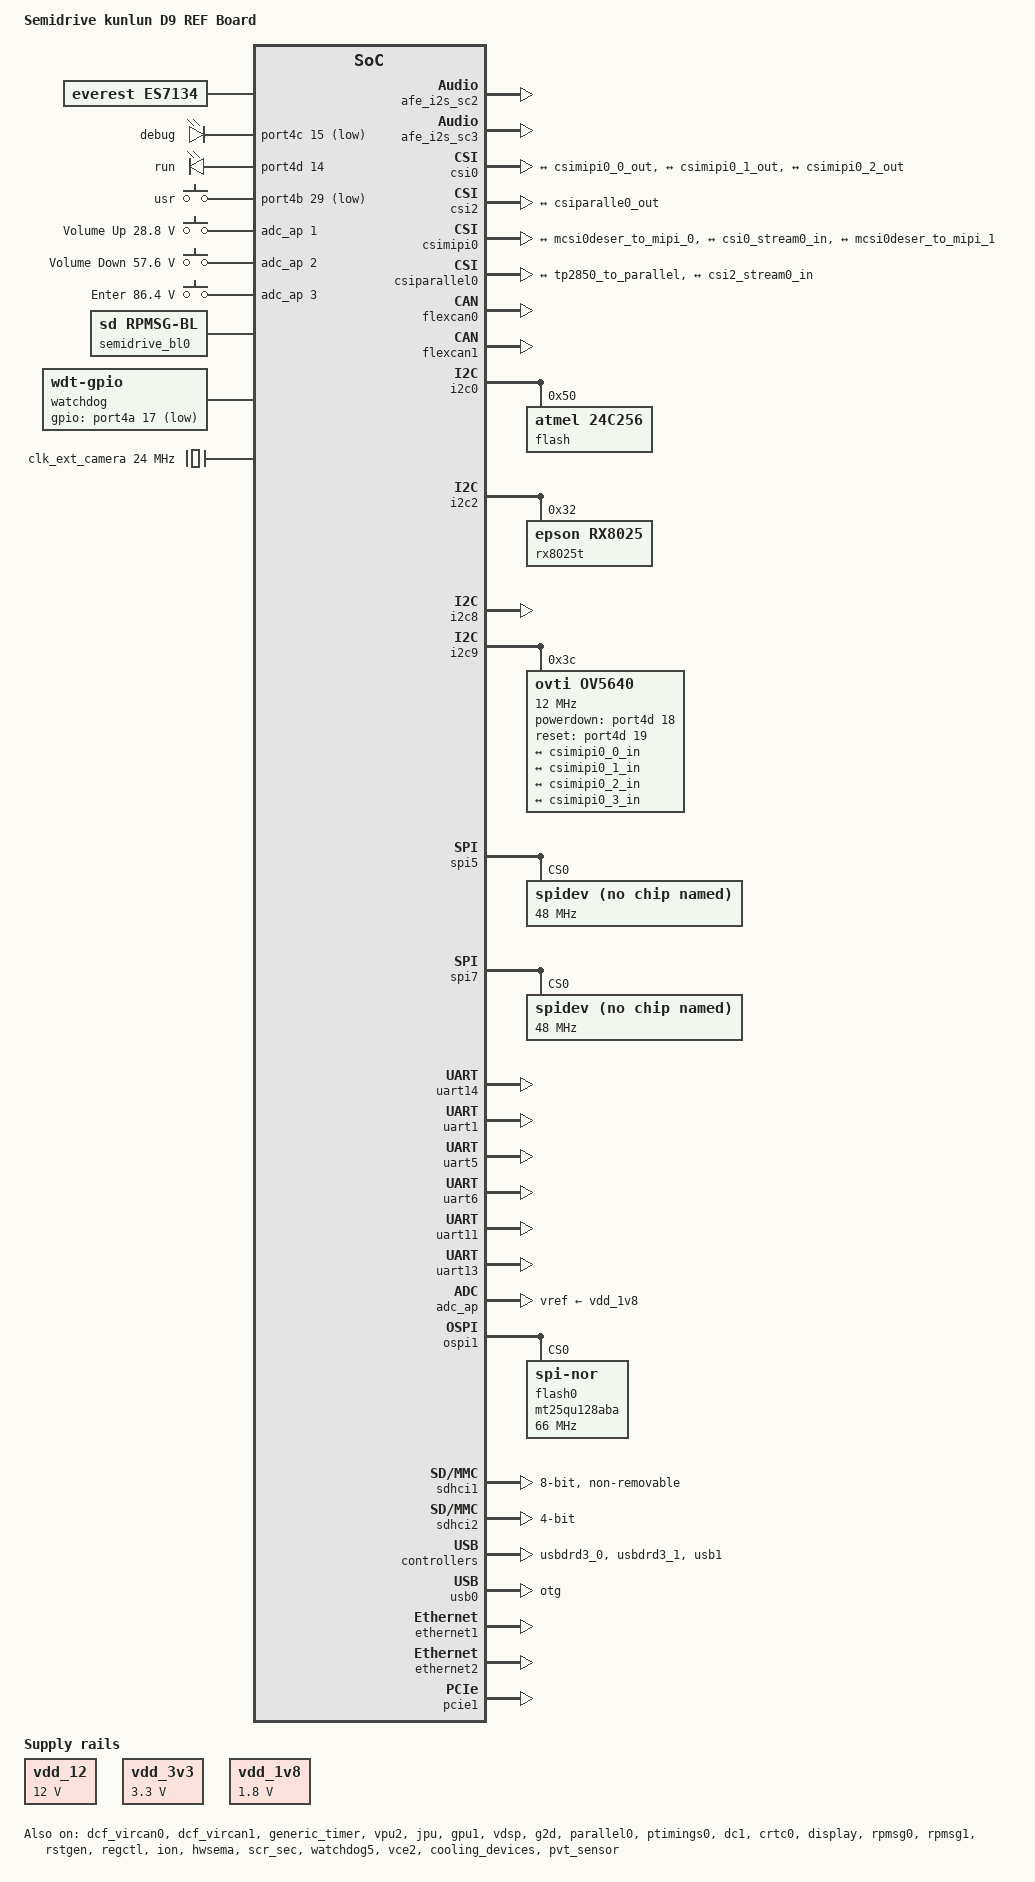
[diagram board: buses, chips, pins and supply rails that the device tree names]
/*
 * Semidrive kunlun platform DTS file
 *
 * Copyright (C) 2019, Semidrive  Communications Inc.
 *
 * This file is licensed under a dual GPLv2 or X11 license.
 */

/dts-v1/;
#include <dt-bindings/input/input.h>
#include <dt-bindings/pinctrl/pins-sdx9.h>
#include <dt-bindings/memmap/d9/projects/default/image_cfg.h>
#include <dt-bindings/memory/sdrv_ion.h>
#include <dt-bindings/rpmsg/sd,x9h-default.h>
#include "d9-std.dtsi"
#include "lcd-timings.dtsi"
#include "lcd_hsd123_serdes_mipi_1920x720.dtsi"

/ {
	model = "Semidrive kunlun D9 REF Board";

	compatible = "semidrive,kunlun";

	aliases {
		serial0 = &uart14;//linux debug uart
		serial1 = &uart0;
		serial2 = &uart1;
		//serial3 = &uart2;//safety debug uart
		serial4 = &uart3;
		serial5 = &uart4;
		serial6 = &uart5;
		serial7 = &uart6; 
		serial8 = &uart7; 
		serial9 = &uart8;
		//serial10 = &uart9;//sec ssystem debug uart
		serial11 = &uart10;
		serial12 = &uart11;
		serial13 = &uart12;
		serial14 = &uart13;
		//serial15 = &uart14;//linux debug uart
		serial16 = &uart15;
		ethernet1 = &ethernet1;
		ethernet2 = &ethernet2;
		spi6 = &spi5;
		spi7 = &spi6;
		spi8 = &spi7;
	};

	memory@50000000 {
		device_type = "memory";
		reg = <HIGH32(AP1_REE_MEMBASE) LOW32(AP1_REE_MEMBASE) HIGH32(AP1_REE_MEMSIZE) LOW32(AP1_REE_MEMSIZE) \
		       HIGH32(AP1_2ND_MEMBASE) LOW32(AP1_2ND_MEMBASE) HIGH32(AP1_2ND_MEMSIZE) LOW32(AP1_2ND_MEMSIZE) \
		       0x0 (VDSP_MEMBASE+0x4000) 0x0 (VDSP_SHARE_MEMSIZE + VDSP_MEMSIZE -0x4000)>;
	};

	reserved-memory {
		#address-cells = <2>;
		#size-cells = <2>;
		ranges;

		ramoops {
			compatible = "ramoops";
			reg = <HIGH32(AP1_BOARD_RAMDISK_MEMBASE + AP1_BOARD_RAMDISK_MEMSIZE + 0x1000000)
				LOW32(AP1_BOARD_RAMDISK_MEMBASE + AP1_BOARD_RAMDISK_MEMSIZE + 0x1000000) 0x0 0x100000>;
			record-size = <0x60000>;
			console-size = <0x40000>;
			ftrace-size = <0x20000>;
			pmsg-size = <0x40000>;
		};

		/* Default Common CMA Pool */
		/* QUIRK: Must be kept in the lower 4096 MiBs of DRAM banks for VE */
		linux,cma {
			compatible = "shared-dma-pool";
			reusable;
			size = <0x0 0x10000000>; /* 256MB */
			/* 4GB maximum in case of 32-bit only capable devices */
			alloc-ranges = <0x0 0x0 0x0 0xffffffff>;
			linux,cma-default;
		};

		rproc_0_safety: rproc@0 {
			compatible = "shared-dma-pool";
			no-map;
			reg = <0x0 RPMSG0_MEM_POOL_BASE 0x0 RPMSG0_MEM_POOL_SIZE>;
		};

		rproc_1_secure: rproc@1 {
			compatible = "shared-dma-pool";
			no-map;
			reg = <0x0 RPMSG1_MEM_POOL_BASE 0x0 RPMSG1_MEM_POOL_SIZE>;
		};

		xrp_reserved: xrp@0 {
			compatible = "shared-dma-pool";
			status = "okay";
			no-map;
			reg = <0x0 VDSP_SHARE_MEMBASE 0x0 0x4000>;
		};

		xrp_shared: xrp,shmem {
			reg = <0x0 (VDSP_SHARE_MEMBASE+0x4000) 0x0 (VDSP_SHARE_MEMSIZE-0x4000)>;
		};

	};

	chosen {
		bootargs = "skip_initramfs noinitrd root=/dev/mmcblk0p4 rootfstype=ext4 rootwait rw init=/sbin/init highres=1 earlycon loglevel=4 nr_uarts=16 console=ttyS0,115200n8 fbcon=map:1 androidboot.mode=normal androidboot.selinux=permissive androidboot.debuggable=1 androidboot.dm_verity=disable psplash=false";
		stdout-path = "serial0";
	};

	vdd_12: fixed-vdd_12 {
		compatible = "regulator-fixed";
		regulator-name = "vdd_12v";
		regulator-min-microvolt = <12000000>;
		regulator-max-microvolt = <12000000>;
	};

	vdd_3v3: fixed-vdd_3v3 {
		compatible = "regulator-fixed";
		regulator-name = "vdd_3v3";
		regulator-min-microvolt = <3300000>;
		regulator-max-microvolt = <3300000>;
	};

	vdd_1v8: fixed-vdd_1v8 {
		compatible = "regulator-fixed";
		regulator-name = "vdd_1v8";
		regulator-min-microvolt = <1800000>;
		regulator-max-microvolt = <1800000>;
	};

	es7134: codec@es7134 {
		compatible = "everest,es7134";
		status = "okay";
	};

	sound_es7243e: sound@es7243e {
		compatible = "semidrive,d9-ref-es7243e";
		semidrive,audio-codec = <&es7243e>;
		status = "okay";
	};

	sound_es7144: sound@es7144 {
		compatible = "semidrive,d9-ref-es7144";
		semidrive,audio-codec = <&es7134>;
		//semidrive,jack-gpio = <&port4b 29 GPIO_ACTIVE_HIGH>;
		status = "okay";
	};

	leds {
		compatible = "gpio-leds";
		status = "okay";
		led0: led0 {
			label = "debug";
			gpios = <&port4c 15 GPIO_ACTIVE_LOW> ;//GPIO_D15 - gpio79
			default-state = "on";
			linux,default-trigger = "heartbeat";
		};
		led1: led1 {
			label = "run";
			gpios = <&port4d 14 GPIO_ACTIVE_HIGH> ;//GPIO_G6 - gpio110
			default-state = "on";
			linux,default-trigger = "heartbeat";
		};
	};

	gpio-keys {
		status = "okay";
		compatible = "gpio-keys";
		autorepeat;
		up {
			label = "usr";
			linux,code = <KEY_POWER>;//KEY_POWER
			gpios = <&port4b 29 GPIO_ACTIVE_LOW> ;//sch-part-S1<->gpio_C13 - gpio61
		};
	};

	adc-keys0 {
		status = "okay";
		compatible = "adc-keys";
		io-channels = <&adc_ap 1>;
		io-channel-names = "buttons";
		keyup-threshold-microvolt = <30500000>;
		poll-interval = <100>;

		button-up {
			label = "Volume Up";
			linux,code = <KEY_VOLUMEUP>;
			press-threshold-microvolt = <28800000>;
		};

	};

	adc-keys1 {
		status = "okay";
		compatible = "adc-keys";
		io-channels = <&adc_ap 2>;
		io-channel-names = "buttons";
		keyup-threshold-microvolt = <59400000>;
		poll-interval = <100>;

		button-down {
			label = "Volume Down";
			linux,code = <KEY_VOLUMEDOWN>;
			press-threshold-microvolt = <57600000>;
		};

	};

	adc-keys2 {
		status = "okay";
		compatible = "adc-keys";
		io-channels = <&adc_ap 3>;
		io-channel-names = "buttons";
		keyup-threshold-microvolt = <88000000>;
		poll-interval = <100>;

		button-enter {
			label = "Enter";
			linux,code = <KEY_ENTER>;
			press-threshold-microvolt = <86400000>;
		};
	};

	semidrive_bl0: panel0-backlight {
		compatible = "sd,rpmsg-bl"; /*"sd,rpmsg-bl" for rpmsg; "pwm-backlight" for native*/
		bl_screen-id = /bits/ 32 <1>;
		//pwms = <&pwm4 PWM_CH0 PWM_FREQUENCY PWM_POLARITY_INVERSED>;
		brightness-levels = <0 1 2 3 4 5 6 7 8 9 10 11 12 13 14 15 16
							 17 18 19 20 21 22 23 24 25 26 27 28 29 30
							 31 32 33 34 35 36 37 38 39 40 41 42 43 44
							 45 46 47 48 49 50 51 52 53 54 55 56 57 58
							 59 60 61 62 63 64 65 66 67 68 69 70 71 72
							 73 74 75 76 77 78 79 80 81 82 83 84 85 86
							 87 88 89 90 91 92 93 94 95 96 97 98 99 100>;
		default-brightness-level = <70>;
		status = "okay";
	};
	watchdog: watchdog {
		// SGM820B
		compatible = "linux,wdt-gpio";
		gpios = <&port4a 17 GPIO_ACTIVE_LOW>;//gpio17 - GPIO_B5 / GPIO_B4
		hw_algo = "toggle";
		always-running;
		hw_margin_ms = <1000>;
	};
	clocks {
		clk_ext_camera: clk-ext-camera {
			#clock-cells = <0>;
			compatible = "fixed-clock";
			clock-frequency = <24000000>;
		};
	};
};

&dmac4 {
	status = "okay";
};
&dmac5 {
	status = "okay";
};
&dmac6 {
	status = "okay";
};

&afe_i2s_sc2{
//sch part u19(codec dac es7144)
	dmas = <&dmac4 X9_DMA_SLV_ID_I2S_SC3_TX>, <&dmac4 X9_DMA_SLV_ID_I2S_SC3_RX>;
	dma-names = "tx", "rx";
	status = "okay";
};

&afe_i2s_sc3{
//sch part u20(codec adc es7243)
	dmas = <&dmac4 X9_DMA_SLV_ID_I2S_SC4_TX>, <&dmac4 X9_DMA_SLV_ID_I2S_SC4_RX>;
	dma-names = "tx", "rx";
	semidrive,full-duplex = <0>;
	status = "okay";
};

&afe_i2s_sc5{
	dmas = <&dmac4 X9_DMA_SLV_ID_I2S_SC6_TX>, <&dmac4 X9_DMA_SLV_ID_I2S_SC6_RX>;
	dma-names = "tx", "rx";
	status = "disabled";
};

&afe_i2s_sc7{
	dmas = <&dmac4 X9_DMA_SLV_ID_I2S_SC8_TX>, <&dmac4 X9_DMA_SLV_ID_I2S_SC8_RX>;
	dma-names = "tx", "rx";
	status = "disabled";
};

/*&csi0 {
	fsl,mipi-mode;
	status = "okay";
	port {
		csi1_ep: endpoint {
			remote-endpoint = <&csi1_mipi_ep>;
		};
	};
};*/

&csi0 {
	mbus-type = "mipi-csi2";
	pclk-sample = <1>;
	status = "okay";

	ports {
		csi0_stream0: port@0 {
			csi0_stream0_in: endpoint@0 {
				remote-endpoint = <&csimipi0_0_out>;
			};
		};

		csi0_stream1: port@1 {
			csi0_stream1_in: endpoint@0 {
				remote-endpoint = <&csimipi0_1_out>;
			};
		};
		csi0_stream2: port@2 {
			csi0_stream2_in: endpoint@0 {
				remote-endpoint = <&csimipi0_2_out>;
			};
		};
		csi0_stream3: port@3 {
			csi0_stream3_in: endpoint@0 {
				remote-endpoint = <&csimipi0_3_out>;
			};
		};
	};
};

&csi2 {
	mbus-type = "bt656";
	pclk-sample = <0>;
	status = "okay";

	ports {
		csi2_stream0: port@0 {
			csi2_stream0_in: endpoint@0 {
				remote-endpoint = <&csiparalle0_out>;
			};
		};

	};
};
/*
&csimipi0 {
	status = "okay";
	lanerate = <72000000>;
	hsa = <10>;
	hbp = <20>;
	hsd = <0x60>;
	output-type = <0x1e>;

	port {
		mipi1_sensor_ep: endpoint1 {
			remote-endpoint = <&ov5640_mipi1_ep>;
			data-lanes = <2>;
			csis-hs-settle = <13>;
			csis-clk-settle = <2>;
			csis-wclk;
		};

		csi1_mipi_ep: endpoint2 {
			remote-endpoint = <&csi1_ep>;
		};
	};
};*/

&csimipi0 {
	status = "okay";
	lanerate = <72000000>;
	hsa = <10>;
	hbp = <20>;
	hsd = <0x60>;
	output-type = <0x1e>;

	ports {
		#address-cells = <1>;
		#size-cells = <0>;

		port@0 {
			#address-cells = <1>;
			#size-cells = <0>;
			reg = <0>;
			csimipi0_0_in: endpoint@0 {
				remote-endpoint = <&mcsi0deser_to_mipi_0>;
				reg = <0>;
			};
			csimipi0_0_out: endpoint@1 {
				remote-endpoint = <&csi0_stream0_in>;
				reg = <0>;
			};
		};

		port@1 {
			#address-cells = <1>;
			#size-cells = <0>;
			reg = <1>;
			csimipi0_1_in: endpoint@0 {
				remote-endpoint = <&mcsi0deser_to_mipi_1>;
				reg = <1>;
			};
			csimipi0_1_out: endpoint@1 {
				remote-endpoint = <&csi0_stream1_in>;
				reg = <1>;
			};
		};
		port@2 {
			#address-cells = <1>;
			#size-cells = <0>;
			reg = <2>;
			csimipi0_2_in: endpoint@0 {
				remote-endpoint = <&mcsi0deser_to_mipi_2>;
				reg = <2>;
			};
			csimipi0_2_out: endpoint@1 {
				remote-endpoint = <&csi0_stream2_in>;
				reg = <2>;
			};
		};
		port@3 {
			#address-cells = <1>;
			#size-cells = <0>;
			reg = <3>;
			csimipi0_3_in: endpoint@0 {
				remote-endpoint = <&mcsi0deser_to_mipi_3>;
				reg = <3>;
			};
			csimipi0_3_out: endpoint@1 {
				remote-endpoint = <&csi0_stream3_in>;
				reg = <3>;
			};
		};
	};
};

&csiparallel0 {
	status = "okay";
	#address-cells = <1>;
	#size-cells = <0>;

	port {
		#address-cells = <1>;
		#size-cells = <0>;
		reg = <0>;
		csiparallel0_in: endpoint@0 {
			remote-endpoint = <&tp2850_to_parallel>;
		};

		csiparallel0_out: endpoint@1 {
			remote-endpoint = <&csi2_stream0_in>;
		};
	};
};

&dcf_vircan0 {
	status = "okay";
};

&dcf_vircan1 {
	status = "okay";
};

&flexcan0 {
	clocks = <&CAN5_TO_20>, <&CAN5_TO_20>;
	clock-names = "per", "ipg";
	assigned-clocks = <&CAN5_TO_20>, <&CAN5_TO_20>;
	assigned-clock-rates = <80000000>, <80000000>;
	status = "okay";
};

&flexcan1 {
	clocks = <&CAN5_TO_20>, <&CAN5_TO_20>;
	clock-names = "per", "ipg";
	assigned-clocks = <&CAN5_TO_20>, <&CAN5_TO_20>;
	assigned-clock-rates = <80000000>, <80000000>;
	status = "okay";
};

&i2c0 {
		status = "okay";
		flash@50 {
			compatible = "atmel,24c256";
			reg = <0x50>;
			//pagesize = <64>;
		};
};

&i2c2 {
        status = "okay";
		rx8025t: rx8025t@32 {
		compatible = "epson,rx8025";
		reg = <0x32>;
    };
};

&i2c3 {
//sch part U22(pvt sgm452t)
	status = "disabled";
	dtt@4f {
		compatible = "sgmicro,sgm452";
		reg = <0x4f>;
	};
	
};
&i2c4 {
	status = "disabled";
	ksz9896c:ksz9896c@5f {
		compatible = "switch,ksz9896c";
		//ksz9896c,pwdn-gpio =  <&port4b 28 GPIO_ACTIVE_LOW>;
		//gpios = <&port4d 28 GPIO_ACTIVE_LOW> ;//sch-part-J8<->gpio_H2 io124 Y7

		reg = <0x5f>;
	};
};

&i2c5 {
	status = "disabled";
	es7243e: codec@10 {
		compatible = "MicArray_0";
		reg = <0x10>;
	};
};

&i2c6 {
//sch part U5(tp2850)
	status = "disabled";
	dvp_tp2850:dvp_tp2850@44 {
		compatible = "tp,tp2850";
		reg = <0x44>;
		sync = <0>;
		//pwdn-gpios = <&port4d 27 GPIO_ACTIVE_HIGH>;//index(123) gpio h1
		rst-gpios = <&port4c 19 GPIO_ACTIVE_HIGH>;//index(79) gpio D15
		//semidrive,poc = <&i2c9>;
		port {
			tp2850_to_parallel:endpoint {
				remote-endpoint = <&csiparallel0_in>;
			};
		};
	};
};

&i2c7 {
	status = "disabled";
};

&i2c8 {
	status = "okay";
};
/*
&i2c9 {
	status = "okay";
	
	ov5640_mipi: ov5640_mipi@3c {
		compatible = "ovti,ov5640_mipi";
		reg = <0x3c>;
		status = "okay";
		//clocks = <&CSI_MCLK1>;
		clocks = <&clk_ext_camera>;
		clock-names = "csi_mclk";
		//clock-frequency = <12000000>;
		mclk = <24000000>;
		mclk_source = <0>;
		//sync = <0>;
		csi_id = <0>;
		gate-gpios = <&port4d 20 GPIO_ACTIVE_HIGH>;//GPIO_G12 - gpio116
		pwn-gpios = <&port4d 18 GPIO_ACTIVE_HIGH>;//GPIO_G10 - gpio114
		rst-gpios = <&port4d 19 GPIO_ACTIVE_HIGH>;//GPIO_G11 - gpio115
		port {
			ov5640_mipi1_ep: endpoint {
				remote-endpoint = <&mipi1_sensor_ep>;
			};
		};
		ports {
			port@0 {
				#address-cells = <1>;
				#size-cells = <0>;

				mcsi0deser_to_mipi_0: endpoint {
					remote-endpoint = <&csimipi0_0_in>;
				};
			};

			port@1 {
				#address-cells = <1>;
				#size-cells = <0>;

				mcsi0deser_to_mipi_1: endpoint {
					remote-endpoint = <&csimipi0_1_in>;
				};
			};
			port@2 {
				#address-cells = <1>;
				#size-cells = <0>;

				mcsi0deser_to_mipi_2: endpoint {
					remote-endpoint = <&csimipi0_2_in>;
				};
			};
			port@3 {
				#address-cells = <1>;
				#size-cells = <0>;

				mcsi0deser_to_mipi_3: endpoint {
					remote-endpoint = <&csimipi0_3_in>;
				};
			};
		};
	};
};*/

&i2c9 {
//sch part U3(N4)
	status = "okay";

	ov5640:ov5640@3c {
		compatible = "ovti,ov5640";
		clocks = <&CSI_MCLK1>;
		clock-names = "csi-mclk";
		clock-frequency = <12000000>;
		reg = <0x3c>;
		powerdown-gpios = <&port4d 18 GPIO_ACTIVE_HIGH>;//GPIO_G10 - gpio114
		reset-gpios = <&port4d 19 GPIO_ACTIVE_HIGH>;//GPIO_G11 - gpio115

		ports {
			port@0 {
				#address-cells = <1>;
				#size-cells = <0>;

				mcsi0deser_to_mipi_0: endpoint {
					remote-endpoint = <&csimipi0_0_in>;
				};
			};

			port@1 {
				#address-cells = <1>;
				#size-cells = <0>;

				mcsi0deser_to_mipi_1: endpoint {
					remote-endpoint = <&csimipi0_1_in>;
				};
			};
			port@2 {
				#address-cells = <1>;
				#size-cells = <0>;

				mcsi0deser_to_mipi_2: endpoint {
					remote-endpoint = <&csimipi0_2_in>;
				};
			};
			port@3 {
				#address-cells = <1>;
				#size-cells = <0>;

				mcsi0deser_to_mipi_3: endpoint {
					remote-endpoint = <&csimipi0_3_in>;
				};
			};
		};
	};
};		

&i2c10 {
//sch part U7(LT9611)
	status = "disabled";
};

&i2c11 {
//sch part cn4(lvd tp)
	status = "disabled";

	gt9271_11_j35:gt9271_11_j35@5d {
		//pinctrl-names = "default";
		//pinctrl-0 = <&pinctrl_gpiotouch_mipi>;
		compatible = "goodix,gt9271";
		irq-gpios = <&port4e 17 0>;	/*io97*/
		//reset-gpios = <&tp_gpio 2 0>;	/*index 2*/
		reg = <0x5d>;
	};
};

&i2c13 {
	status = "disabled";
};

&i2c14 {
	status = "disabled";
};

&i2c15 {
	status = "disabled";
};

&spi4 {
	status = "disabled";
};

&spi5 {
	dmas = <&dmac4 X9_DMA_SLV_ID_SPI6_TX>, <&dmac4 X9_DMA_SLV_ID_SPI6_RX>;
	dma-names = "tx", "rx";
	status = "okay";
	spidev@0{
		#address-cellss=<1>;
		#size-cells=<1>;
		compatible = "rohm,dh2228fv";
		spi-max-frequency = <48000000>;
		reg = <0>;
	};
};

&spi6 {
	status = "disabled";
};

&spi7 {
	dmas = <&dmac4 X9_DMA_SLV_ID_SPI8_TX>, <&dmac4 X9_DMA_SLV_ID_SPI8_RX>;
	dma-names = "tx", "rx";
	status = "okay";
	spidev@0{
		#address-cellss=<1>;
		#size-cells=<1>;
		compatible = "rohm,dh2228fv";
		spi-max-frequency = <48000000>;
		reg = <0>;
	};
};

&uart14 {
//linux debug
	dmas = <&dmac4 X9_DMA_SLV_ID_UART15_TX>, <&dmac4 X9_DMA_SLV_ID_UART15_RX>;
	dma-names = "tx", "rx";
	status = "okay";
};

&uart0 {
	status = "disabled";
};

&uart1 {
	//rs232 - 2
	snps,dma-not-used;
	status = "okay";
};

//&uart2 {
	//safety debug uart -3
//	status = "okay";
//};

&uart3 {
	status = "disabled";
};

&uart4 {
	status = "disabled";
};

&uart5 {
	//rs232 - 6
	snps,dma-not-used;
	status = "okay";
};

&uart6 {
	//rs485 - 7
	//sch part u28 sit3485
	snps,dma-not-used;
	sdrv,config_gpio_ctrl_485;
	sdrv,485_re_gpio = <&port4b 1 0>;//gpio33
	sdrv,485_de_gpio = <&port4b 1 0>;
	sdrv,485_re_polarity_val = <0>;
	sdrv,485_de_polarity_val = <1>;
	status = "okay";
};

&uart7 {
	status = "disabled";
};

&uart8 {
	//ext - 9
	status = "disabled";
};

&uart9 {
	//sec ssystem debug uart
	status = "disabled";
};

&uart10 {
	status = "disabled";
};

&uart11 {
//rs485
	snps,dma-not-used;
	sdrv,config_gpio_ctrl_485;
	sdrv,485_re_gpio = <&port4b 24 0>;//gpio56
	sdrv,485_de_gpio = <&port4b 24 0>;
	sdrv,485_re_polarity_val = <0>;
	sdrv,485_de_polarity_val = <1>;
	status = "okay";
};

&uart12 {
	status = "disabled";
};

&uart13 {
	//wifi-ble - 14
	status = "okay";
};

&uart15 {
	status = "disabled";
};

&generic_timer {
	status = "okay";
};

&adc_ap {
	resolution_value = <0x03>; /*ADC_6_BITS_E0 = 0x00 , ADC_8_BITS_E1 = 0x01 , ADC_10_BITS_E2 = 0x02 , ADC_12_BITS_E3 = 0x03*/
	clksrc_sel = <0x00>; /*ADC_SRC_CLK_ALT_E0 = 0x00 , ADC_SRC_CLK_PCLK_E1 = 0x01 , ADC_SRC_CLK_EXT_E2 = 0x02*/
	clk_value = <24000000>;
	use-adc-fifo;
	vref-supply = <&vdd_1v8>;
	status = "okay";
};

&vpu2 {
	resets = <&rstgen RSTGEN_MODULE_VPU2>;
	reset-names = "vpu-reset";
	status = "okay";
};

&jpu {
	resets = <&rstgen RSTGEN_MODULE_MJPEG>;
	reset-names = "jpu-reset";
	status = "okay";
};

&gpu1 {
	status = "okay";
};

&clk_gpu2 {
	status = "okay";
};
&vdsp {
	reg = <0x0 VDSP_SHARE_MEMBASE 0x0 0x1000>, /* DSP command queue */
	      <0x0 (VDSP_SHARE_MEMBASE+0x4000) 0x0 (VDSP_SHARE_MEMSIZE-0x4000)>, /* DSP shared memory */
	      <0x0 0x34040000 0x0 0x1000>, /* vdsp mu base address, pass to vdsp, won't map */
	      <0x0 0x38316000 0x0 0x1000>, /* scr 0x458 */
	      <0x0 0x3839e000 0x0 0x1000>, /* scr 0x678 */
	      <0x0 0x38401000 0x0 0x2000>, /* rstgen core 0 */
	      <0x0 0x38466000 0x0 0x1000>; /* rstgen module 38 */
	firmware-name = "xtensa.elf";
	firmware-entry = <VDSP_MEMBASE>;
	/*data ram0, data ram1, system ram, shared ram*/
	ranges = <0x0 0x00a00000 0x0 0x00a00000 0x0 0x00020000
		  0x0 0x00a20000 0x0 0x00a20000 0x0 0x00020000
		  0x0 VDSP_MEMBASE 0x0 VDSP_MEMBASE 0x0 VDSP_MEMSIZE
		  0x0 LOW32(AP1_KERNEL_MEMBASE-0x80000) 0x0 LOW32(AP1_KERNEL_MEMBASE-0x80000) 0x0 LOW32(0x100000000-AP1_KERNEL_MEMBASE+0x80000)
		  0x0 VDSP_SHARE_MEMBASE 0x0 VDSP_SHARE_MEMBASE 0x0 VDSP_SHARE_MEMSIZE>;
	status = "okay";
};

&g2d {
	status = "okay";
};

&parallel0 {
	status = "okay";
};

&dtimings0 {
	native-mode = <&vesa_fhd1920x1080>;
};

&ptimings0 {
	status = "okay";
};

&dc1 {
	status = "okay";
};

&crtc0 {
	dpc-master = <&dc1>;
	status = "okay";
/*
	crtc0_out: port {
		crtc0_out_interface: endpoint@0 {
			remote-endpoint = <&dsi_in_crtc0>;
		};
	};
*/
};

&dsi0 {
	status = "disabled";
	panel {
		compatible = "semidrive,mipi-panel";
		#address-cells = <1>;
		#size-cells = <0>;
		reg = <0>;
		status = "okay";
		semidrive,lcd-attached = "lcd_hsd123_serdes_mipi_1920x720";
	};
};

&display {
	sdriv,crtc = <&crtc0>;
	status = "okay";
};

&ospi1 {
	status = "okay";
	flash0: mt25qu128aba@0 {
		reg = <0>;
		#address-cells = <1>;
		#size-cells = <1>;
		compatible = "jedec,spi-nor";
		spi-max-frequency = <66000000>;

		m25p,fast-read;
		cdns,page-size = <256>;
		cdns,block-size = <16>;
		cdns,read-delay = <1>;
		cdns,tshsl-ns = <50>;
		cdns,tsd2d-ns = <50>;
		cdns,tchsh-ns = <4>;
		cdns,tslch-ns = <4>;
	};
	
};

&pinctrl {
	reg = <0x0 0x37000000 0x0 0x10000>;
	pinctrl-names = "default";

	sdx9-evk {
		pinctrl_mshc1: mshc1grp {
		kunlun,pins = <
			X9_PINCTRL_EMMC1_CLK__MSHC1_CLK_1 		X9_PINCTRL_OPEN_DRAIN_DISABLE
			X9_PINCTRL_EMMC1_CMD__MSHC1_CMD_1		X9_PINCTRL_OPEN_DRAIN_DISABLE
			X9_PINCTRL_EMMC1_DATA0__MSHC1_DATA_0_1	X9_PINCTRL_OPEN_DRAIN_DISABLE
			X9_PINCTRL_EMMC1_DATA1__MSHC1_DATA_1_1	X9_PINCTRL_OPEN_DRAIN_DISABLE
			X9_PINCTRL_EMMC1_DATA2__MSHC1_DATA_2_1	X9_PINCTRL_OPEN_DRAIN_DISABLE
			X9_PINCTRL_EMMC1_DATA3__MSHC1_DATA_3_1	X9_PINCTRL_OPEN_DRAIN_DISABLE
			X9_PINCTRL_EMMC1_DATA4__MSHC1_DATA_4_1	X9_PINCTRL_OPEN_DRAIN_DISABLE
			X9_PINCTRL_EMMC1_DATA5__MSHC1_DATA_5_1	X9_PINCTRL_OPEN_DRAIN_DISABLE
			X9_PINCTRL_EMMC1_DATA6__MSHC1_DATA_6_1	X9_PINCTRL_OPEN_DRAIN_DISABLE
			X9_PINCTRL_EMMC1_DATA7__MSHC1_DATA_7_1	X9_PINCTRL_OPEN_DRAIN_DISABLE
			X9_PINCTRL_EMMC1_STROBE__MSHC1_STB_1		X9_PINCTRL_OPEN_DRAIN_ENABLE
			X9_PINCTRL_EMMC1_RESET_N__MSHC1_RST_N_1	X9_PINCTRL_OPEN_DRAIN_DISABLE
			>;
		};

		pinctrl_gpiotouch_lvds: touchgrp_lvds {
		kunlun,pins = <
			X9_PINCTRL_I2S_MC_SD4__GPIO_MUX2_IO80_1          0x00
			X9_PINCTRL_I2S_MC_SD5__GPIO_MUX2_IO81_1          0x00
			X9_PINCTRL_I2S_MC_SD6__GPIO_MUX2_IO82_1          0x00
			X9_PINCTRL_I2S_MC_SD7__GPIO_MUX2_IO83_1          0x00
			>;
		};
		pinctrl_gpiotouch_mipi: touchgrp_mipi {
			kunlun,pins = <
			X9_PINCTRL_EMMC2_CLK__GPIO_MUX2_IO96_1          0x00
			X9_PINCTRL_EMMC2_CMD__GPIO_MUX2_IO97_1          0x00
			>;
		};
	};
};

&gpio4 {
	//pinctrl-names = "default";
	//pinctrl-0 = <&pinctrl_gpiotouch_lvds &pinctrl_gpiotouch_mipi>;
	status = "okay";
};
&sdhci1 {
	bus-width = <8>;
	non-removable;
	no-sdio;
	no-sd;
	card-is-emmc;
	disable-wp;
	cap-mmc-highspeed;
	keep-power-in-suspend;
	mmc-ddr-1_8v;
	mmc-hs200-1_8v;
	mmc-hs400-1_8v;
	status = "okay";
};

&sdhci2 {
	#clock-cells = <1>;
	clocks = <&EMMC2>;
	clock-names = "core";
	//max-frequency = <50000000>;
	bus-width = <4>;
	no-mmc;
	no-sd;
	disable-wp;
	keep-power-in-suspend;
	cap-sd-highspeed;
	status = "okay";
};

&sdhci3 {
	// #clock-cells = <1>;
	// clocks = <&EMMC3>;
	// clock-names = "core";
	// max-frequency = <100000000>;
	// cd-gpios = <&port4b 30 GPIO_ACTIVE_LOW>;//gpio62 - GPIO_C14
	// //pwr-gpios = <&port4b 25 GPIO_ACTIVE_HIGH>;//gpio_c9
	// bus-width = <4>;
	// no-mmc;
	// no-sdio;
	// disable-wp;
	// keep-power-in-suspend;
	// cap-sd-highspeed;
	// sd-uhs-sdr104;
	status = "disabled";
};

&mbox {
	status = "okay";
};

&vdsp_ipc {
	status = "okay";
};

&mbox_test {
	status = "okay";
};

&rpmsg0 {
	memory-region = <&rproc_0_safety>;
	reg = <0x0 RPMSG0_MEM_HEAD_BASE 0x0 RPMSG0_MEM_HEAD_SIZE>;
	status = "okay";
};

&rpmsg1 {
	memory-region = <&rproc_1_secure>;
	reg = <0x0 RPMSG1_MEM_HEAD_BASE 0x0 RPMSG1_MEM_HEAD_SIZE>;
	status = "okay";
};

&ipcc0 {
	status = "okay";
};

&ipcc1 {
	status = "okay";
};


&rtc {
	status = "disabled";
};

&usbdrd3_0 {
	status = "okay";
};

&usb3_id0 {
	//id-gpios = <&port4e 3 GPIO_ACTIVE_LOW>;
};

&usb0 {
	dr_mode = "otg";
	status = "okay";
};

&usbdrd3_1 {
	status = "okay";
};

&usb1 {
	status = "okay";
};

&ethernet1 {
	snps,max_dma_cap_quirk = <32>;
	status = "okay";
};

&ethernet2 {
	snps,max_dma_cap_quirk = <32>;
	status = "okay";
};

&rstgen {
	reg = <0x0 0x38467000 0x0 0x1000>,	/* vpu1 */
		<0x0 0x38468000 0x0 0x1000>,	/* vpu2 */
		<0x0 0x38469000 0x0 0x1000>,	/* mjpeg */
		<0x0 0x38490000 0x0 0x1000>,	/* gpu1 core */
		<0x0 0x38491000 0x0 0x1000>,	/* gpu1 ss */
		<0x0 0x38461000 0x0 0x1000>,	/* GIC4 */
		<0x0 0x38455000 0x0 0x1000>,	/* cpu1 core0 warm */
		<0x0 0x38456000 0x0 0x1000>,	/* cpu1 core1 warm */
		<0x0 0x38457000 0x0 0x1000>,	/* cpu1 core2 warm */
		<0x0 0x38458000 0x0 0x1000>,	/* cpu1 core3 warm */
		<0x0 0x38459000 0x0 0x1000>,	/* cpu1 core4 warm */
		<0x0 0x3845a000 0x0 0x1000>,	/* cpu1 core5 warm */
		<0x0 0x3845b000 0x0 0x1000>,	/* cpu1 scu warm */
		<0x0 0x3846d000 0x0 0x1000>,	/* cpu1 ss */
		<0x0 0x38407000 0x0 0x2000>;	/* cpu1 all core */
	rstgen_resource = <
		RSTGEN_MODULE_VPU1
		RSTGEN_MODULE_VPU2
		RSTGEN_MODULE_MJPEG
		RSTGEN_MODULE_GPU1_CORE
		RSTGEN_MODULE_GPU1_SS
		RSTGEN_MODULE_GIC4
		RSTGEN_MODULE_CPU1_CORE0_WARM
		RSTGEN_MODULE_CPU1_CORE1_WARM
		RSTGEN_MODULE_CPU1_CORE2_WARM
		RSTGEN_MODULE_CPU1_CORE3_WARM
		RSTGEN_MODULE_CPU1_CORE4_WARM
		RSTGEN_MODULE_CPU1_CORE5_WARM
		RSTGEN_MODULE_CPU1_SCU_WARM
		RSTGEN_MODULE_CPU1_SS
		RSTGEN_CORE_CPU1_ALL
		>;
	status = "okay";
};

&regctl {
	reg = <0x0 0x38415000 0x0 0x1000>,
		<0x0 0x38418000 0x0 0x1000>,
		<0x0 0x38419000 0x0 0x1000>,
		<0x0 0x3841a000 0x0 0x1000>;
	reg-names = "SDRV_REG_REMAP",
			"SDRV_REG_BOOTREASON",
			"SDRV_REG_HWID",
			"SDRV_REG_STATUS";
	status = "okay";
};

&ion {
	status = "okay";
};

&hwsema {
	status = "okay";
};

&scr_sec {
	status = "okay";
};

&watchdog5 {
	wdt,auto-run = "false";
	status = "okay";
};

&pcie1 {
	// smdrv,link_count = <20000>;
	// resets = <&rstgen RSTGEN_MODULE_PCIE1>;
	// reset-names = "pcie-reset";
	status = "okay";
};

&vce2 {
	/*
	 * op-mode options:
	 * bit 0: rng enable(1) or disable(0)
	 * bit 1: ce enable(1) or disable(0)
	 */
	op-mode = <3>;
	status = "okay";
};

&cooling_devices {
	status = "okay";
};

&pvt_sensor {
	status = "okay";
};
